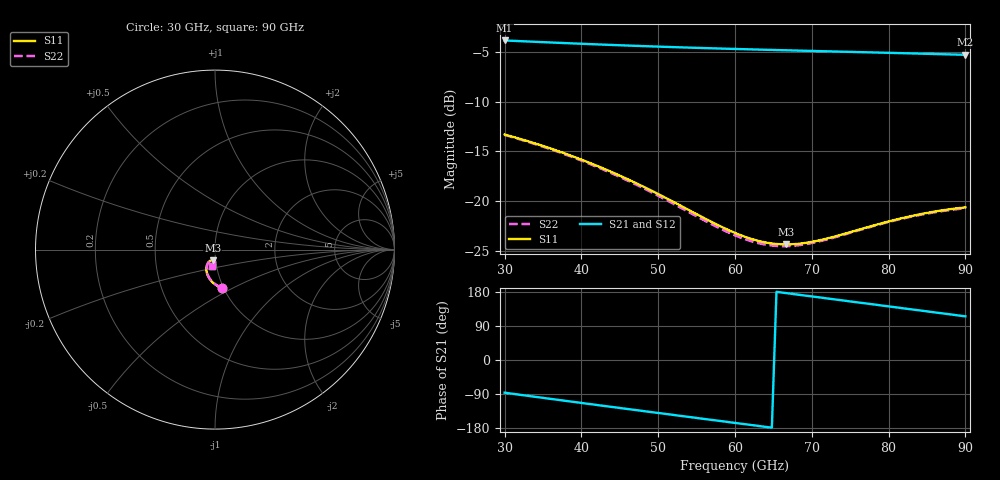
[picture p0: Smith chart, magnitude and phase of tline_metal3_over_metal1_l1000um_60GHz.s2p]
#  GHZ S DB R 50
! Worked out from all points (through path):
!   101 points, 30 GHz to 90 GHz, reference 50 ohm
!   highest |S21| = -3.85 dB at 30 GHz (marker M1); lowest = -5.3 dB at 90 GHz (marker M2)
!   group delay of S21, straight-line fit = 7.32 ps
!   lowest |S11| = -24.3 dB at 66.6 GHz (marker M3), VSWR 1.13, Z = 48.5 - j5.79 ohm
!   |S11| at or under -10 dB: start of sweep to end of sweep
!   |S22| runs from -24.5 to -13.4 dB; largest |S21 - S12| = 7.2e-14
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30  -13.30 -80.2  -3.85 -86.3  -3.85 -86.3  -13.35 -80.1
32.4  -13.83 -85.8  -3.94 -92.8  -3.94 -92.8  -13.89 -85.7
34.8  -14.40 -91.1  -4.02 -99.3  -4.02 -99.3  -14.47 -91.0
37.2  -15.03 -96.2  -4.10 -105.8  -4.10 -105.8  -15.11 -96.1
40.2  -15.88 -102.1  -4.19 -113.8  -4.19 -113.8  -15.98 -102.0
42.6  -16.63 -106.4  -4.27 -120.2  -4.27 -120.2  -16.74 -106.2
45.6  -17.64 -111.0  -4.35 -128.2  -4.35 -128.2  -17.78 -110.9
50.4  -19.44 -116.3  -4.48 -140.8  -4.48 -140.8  -19.61 -116.0
52.8  -20.40 -117.7  -4.54 -147.1  -4.54 -147.1  -20.60 -117.3
55.2  -21.38 -117.8  -4.60 -153.4  -4.60 -153.4  -21.60 -117.3
57.6  -22.33 -116.7  -4.66 -159.7  -4.66 -159.7  -22.57 -115.9
60  -23.18 -114.0  -4.71 -166.0  -4.71 -166.0  -23.43 -113.0
61.8  -23.70 -111.1  -4.75 -170.7  -4.75 -170.7  -23.94 -109.9
63.6  -24.08 -107.7  -4.78 -175.4  -4.78 -175.4  -24.31 -106.2
66.6  -24.34 -101.4  -4.84 176.7  -4.84 176.7  -24.52 -99.7
68.4  -24.26 -97.9  -4.88 172.0  -4.88 172.0  -24.41 -96.1
70.2  -24.05 -94.9  -4.91 167.2  -4.91 167.2  -24.17 -93.2
75  -23.11 -90.7  -5.00 154.6  -5.00 154.6  -23.18 -89.2
77.4  -22.58 -90.4  -5.05 148.3  -5.05 148.3  -22.64 -89.2
80.4  -21.96 -91.6  -5.10 140.4  -5.10 140.4  -22.01 -90.5
85.2  -21.15 -95.7  -5.20 127.8  -5.20 127.8  -21.22 -94.9
90  -20.62 -101.6  -5.30 115.2  -5.30 115.2  -20.71 -101.0
